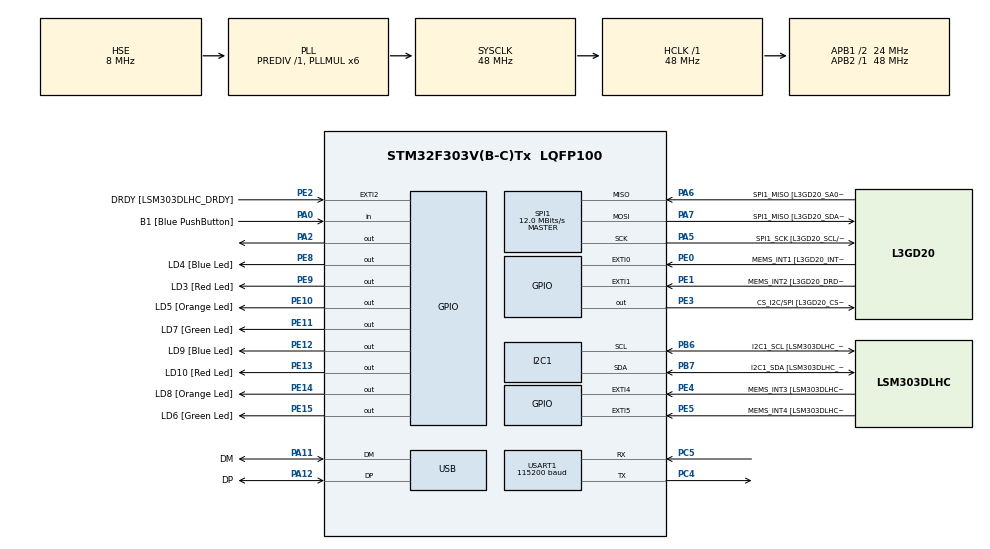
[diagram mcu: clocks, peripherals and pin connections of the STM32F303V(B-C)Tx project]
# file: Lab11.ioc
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I2C1.Timing=0x00201D2B
I2C1.Timing-I2C=0x2000090E
Mcu.Family=STM32F3
Mcu.Name=STM32F303V(B-C)Tx
Mcu.Package=LQFP100
NVIC.PriorityGroup=NVIC_PRIORITYGROUP_0
NVIC.TIM4_IRQn=true\:0\:0\:false\:false\:true\:true\:true\:true
PA0.GPIO_Label=B1 [Blue PushButton]
PA0.Signal=GPIO_Input
PA11.GPIO_Label=DM
PA11.Mode=Device
PA11.Signal=USB_DM
PA12.GPIO_Label=DP
PA12.Mode=Device
PA12.Signal=USB_DP
PA13.GPIO_Label=SWDIO
PA13.Mode=Serial_Wire
PA13.Signal=SYS_JTMS-SWDIO
PA14.GPIO_Label=SWCLK
PA14.Mode=Serial_Wire
PA14.Signal=SYS_JTCK-SWCLK
PA2.Signal=GPIO_Output
PA5.GPIO_Label=SPI1_SCK [L3GD20_SCL/SPC]
PA5.Mode=Full_Duplex_Master
PA5.Signal=SPI1_SCK
PA6.GPIO_Label=SPI1_MISO [L3GD20_SA0/SDO]
PA6.Mode=Full_Duplex_Master
PA6.Signal=SPI1_MISO
PA7.GPIO_Label=SPI1_MISO [L3GD20_SDA/SDI/SDO]
PA7.Mode=Full_Duplex_Master
PA7.Signal=SPI1_MOSI
PB3.GPIO_Label=SWO
PB3.Signal=SYS_JTDO-TRACESWO
PB6.GPIO_Label=I2C1_SCL [LSM303DLHC_SCL]
PB6.GPIO_Pu=GPIO_PULLUP
PB6.Mode=I2C
PB6.Signal=I2C1_SCL
PB7.GPIO_Label=I2C1_SDA [LSM303DLHC_SDA]
PB7.GPIO_Pu=GPIO_PULLUP
PB7.Mode=I2C
PB7.Signal=I2C1_SDA
PC14-OSC32_IN.GPIO_Label=OSC32_IN
PC14-OSC32_IN.Signal=RCC_OSC32_IN
PC15-OSC32_OUT.GPIO_Label=OSC32_OUT
PC15-OSC32_OUT.Signal=RCC_OSC32_OUT
PC4.Mode=Asynchronous
PC4.Signal=USART1_TX
PC5.Mode=Asynchronous
PC5.Signal=USART1_RX
PE0.GPIO_Label=MEMS_INT1 [L3GD20_INT1]
PE0.GPIO_ModeDefaultEXTI=GPIO_MODE_EVT_RISING
PE0.Signal=GPXTI0
PE1.GPIO_Label=MEMS_INT2 [L3GD20_DRDY/INT2]
PE1.GPIO_ModeDefaultEXTI=GPIO_MODE_EVT_RISING
PE1.Signal=GPXTI1
PE10.GPIO_Label=LD5 [Orange Led]
PE10.Signal=GPIO_Output
PE11.GPIO_Label=LD7 [Green Led]
PE11.Signal=GPIO_Output
PE12.GPIO_Label=LD9 [Blue Led]
PE12.Signal=GPIO_Output
PE13.GPIO_Label=LD10 [Red Led]
PE13.Signal=GPIO_Output
PE14.GPIO_Label=LD8 [Orange Led]
PE14.Signal=GPIO_Output
PE15.GPIO_Label=LD6 [Green Led]
PE15.Signal=GPIO_Output
PE2.GPIO_Label=DRDY [LSM303DLHC_DRDY]
PE2.GPIO_ModeDefaultEXTI=GPIO_MODE_EVT_RISING
PE2.Signal=GPXTI2
PE3.GPIO_Label=CS_I2C/SPI [L3GD20_CS_I2C/SPI]
PE3.Signal=GPIO_Output
PE4.GPIO_Label=MEMS_INT3 [LSM303DLHC_INT1]
PE4.GPIO_ModeDefaultEXTI=GPIO_MODE_EVT_RISING
PE4.Signal=GPXTI4
PE5.GPIO_Label=MEMS_INT4 [LSM303DLHC_INT2]
PE5.GPIO_ModeDefaultEXTI=GPIO_MODE_EVT_RISING
PE5.Signal=GPXTI5
PE8.GPIO_Label=LD4 [Blue Led]
PE8.Signal=GPIO_Output
PE9.GPIO_Label=LD3 [Red Led]
PE9.Signal=GPIO_Output
PF0-OSC_IN.GPIO_Label=OSC_IN
PF0-OSC_IN.Mode=HSE-External-Clock-Source
PF0-OSC_IN.Signal=RCC_OSC_IN
PF1-OSC_OUT.GPIO_Label=OSC_OUT
PF1-OSC_OUT.Signal=RCC_OSC_OUT
ProjectManager.HeapSize=0x200
ProjectManager.StackSize=0x400
ProjectManager.TargetToolchain=CMake
RCC.AHBFreq_Value=48000000
RCC.APB1CLKDivider=RCC_HCLK_DIV2
RCC.APB1Freq_Value=24000000
RCC.APB1TimFreq_Value=48000000
RCC.APB2Freq_Value=48000000
RCC.APB2TimFreq_Value=48000000
RCC.CortexFreq_Value=48000000
RCC.HCLKFreq_Value=48000000
RCC.HSE_VALUE=8000000
RCC.HSI_VALUE=8000000
RCC.LSE_VALUE=32768
RCC.PLLMUL=RCC_PLL_MUL6
RCC.SYSCLKFreq_VALUE=48000000
RCC.SYSCLKSourceVirtual=RCC_SYSCLKSOURCE_PLLCLK
RCC.USBFreq_Value=48000000
SPI1.BaudRatePrescaler=SPI_BAUDRATEPRESCALER_4
SPI1.BaudRatePrescaler-Full_Duplex_Master=SPI_BAUDRATEPRESCALER_2
SPI1.CLKPhase=SPI_PHASE_2EDGE
SPI1.CLKPolarity=SPI_POLARITY_HIGH
SPI1.CalculateBaudRate=12.0 MBits/s
SPI1.CalculateBaudRate-Full_Duplex_Master=24.0 MBits/s
SPI1.DataSize=SPI_DATASIZE_8BIT
SPI1.Direction=SPI_DIRECTION_2LINES
SPI1.Mode=SPI_MODE_MASTER
SPI1.Mode-Full_Duplex_Master=SPI_MODE_MASTER
SPI1.VirtualType=VM_MASTER
TIM4.Period=49
TIM4.Prescaler=7199
USART1.BaudRate=115200
USART1.VirtualMode-Asynchronous=VM_ASYNC
VP_TIM4_VS_ClockSourceINT.Mode=Internal
board=STM32F3DISCOVERY

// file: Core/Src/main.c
/* USER CODE BEGIN Header */
/**
  ******************************************************************************
  * @file           : main.c
  * @brief          : Main program body
  ******************************************************************************
  * @attention
  *
  * Copyright (c) 2026 STMicroelectronics.
  * All rights reserved.
  *
  * This software is licensed under terms that can be found in the LICENSE file
  * in the root directory of this software component.
  * If no LICENSE file comes with this software, it is provided AS-IS.
  *
  ******************************************************************************
  */
/* USER CODE END Header */
#include "main.h"

/* USER CODE BEGIN Includes */
#include <stdio.h>
#include <stdint.h>
#include <string.h>
#include <math.h> // For atan2f
/* USER CODE END Includes */

/* USER CODE BEGIN PTD */
typedef struct {
  int16_t raw_x; int16_t raw_y; int16_t raw_z;
  float scaled_x; float scaled_y; float scaled_z;
  float offset_x; float offset_y; float offset_z;
  int16_t gyro_raw_x; int16_t gyro_raw_y; int16_t gyro_raw_z;
  float gyro_scaled_x; float gyro_scaled_y; float gyro_scaled_z;
} LSM_Data;
/* USER CODE END PTD */

/* USER CODE BEGIN PD */
#define LSM_ADDR (0x19 << 1)
#define GYRO_CS_PORT GPIOE
#define GYRO_CS_PIN  GPIO_PIN_3
#define GYRO_CTRL_REG1 0x20
#define GYRO_OUT_X_L   0x28
/* USER CODE END PD */

I2C_HandleTypeDef hi2c1;

SPI_HandleTypeDef hspi1;

TIM_HandleTypeDef htim4;

UART_HandleTypeDef huart1;

PCD_HandleTypeDef hpcd_USB_FS;

/* USER CODE BEGIN PV */
LSM_Data acc_data;

// Control Loop Variables [cite: 206]
float dt = 0.005f; // 200Hz loop time from your TIM4 setup
volatile uint8_t display_flag = 0;

// Angle Estimation Variables [cite: 232]
float tilt_angle = 0.0f;
float acc_angle = 0.0f;

// PID Variables [cite: 183]
float Kp = 1.0f;  // Placeholder gains, you will tune these later [cite: 288]
float Ki = 0.0f;
float Kd = 0.0f;

float setpoint = 0.0f; // 0 degrees = perfectly upright [cite: 195]
float integral = 0.0f;
float previous_error = 0.0f;
float pid_output = 0.0f;
/* USER CODE END PV */

void SystemClock_Config(void);
static void MX_GPIO_Init(void);
static void MX_I2C1_Init(void);
static void MX_SPI1_Init(void);
static void MX_TIM4_Init(void);
static void MX_USART1_UART_Init(void);
static void MX_USB_PCD_Init(void);
/* USER CODE BEGIN PFP */
void LSM_Init(void);
void GYRO_Init(void);
void GYRO_Read(LSM_Data *data);
void LSM_Read(LSM_Data *data);
void LSM_Offset_Calibration(LSM_Data *data);
/* USER CODE END PFP */

/* USER CODE BEGIN 0 */
void LSM_Offset_Calibration(LSM_Data *data) {
float sum_x = 0.0f, sum_y = 0.0f, sum_z = 0.0f;
uint8_t low_byte, high_byte;
int16_t raw_x, raw_y, raw_z;

for (int i = 0; i < 20; i++) {
HAL_I2C_Mem_Read(&hi2c1, LSM_ADDR, 0x28, 1, &low_byte, 1, HAL_MAX_DELAY);
HAL_I2C_Mem_Read(&hi2c1, LSM_ADDR, 0x29, 1, &high_byte, 1, HAL_MAX_DELAY);
raw_x = (int16_t)((high_byte << 8) | low_byte);

HAL_I2C_Mem_Read(&hi2c1, LSM_ADDR, 0x2A, 1, &low_byte, 1, HAL_MAX_DELAY);
HAL_I2C_Mem_Read(&hi2c1, LSM_ADDR, 0x2B, 1, &high_byte, 1, HAL_MAX_DELAY);
raw_y = (int16_t)((high_byte << 8) | low_byte);

HAL_I2C_Mem_Read(&hi2c1, LSM_ADDR, 0x2C, 1, &low_byte, 1, HAL_MAX_DELAY);
HAL_I2C_Mem_Read(&hi2c1, LSM_ADDR, 0x2D, 1, &high_byte, 1, HAL_MAX_DELAY);
raw_z = (int16_t)((high_byte << 8) | low_byte);

sum_x += (raw_x * 3.9f / 1000.0f);
sum_y += (raw_y * 3.9f / 1000.0f);
sum_z += (raw_z * 3.9f / 1000.0f);

HAL_Delay(20);
}

data->offset_x = sum_x / 20.0f;
data->offset_y = sum_y / 20.0f;
data->offset_z = (sum_z / 20.0f) - 1.0f;
}

/* USER CODE END 0 */

int main(void)
{

  /* MCU Configuration--------------------------------------------------------*/

  /* Reset of all peripherals, Initializes the Flash interface and the Systick. */
  HAL_Init();

  /* Configure the system clock */
  SystemClock_Config();

  /* Initialize all configured peripherals */
  MX_GPIO_Init();
  MX_I2C1_Init();
  MX_SPI1_Init();
  MX_TIM4_Init();
  MX_USART1_UART_Init();
  MX_USB_PCD_Init();
  /* USER CODE BEGIN 2 */
  // ... (keep your existing init code here)
  LSM_Init();
  GYRO_Init();
  LSM_Offset_Calibration(&acc_data);

  HAL_TIM_Base_Start_IT(&htim4); // START THE TIMER INTERRUPT! [cite: 268]
  /* USER CODE END 2 */

  /* Infinite loop */
  /* USER CODE BEGIN WHILE */
  while (1)
  {
      if (display_flag == 1)
      {
          display_flag = 0;

          // Printing the raw gyro rate, accelerometer angle, filtered angle, and PID output
          printf("AX: %.2f | AY: %.2f | AZ: %.2f || GyroX: %.2f | Angle: %.2f\r\n",
                 acc_data.scaled_x,
                 acc_data.scaled_y,
                 acc_data.scaled_z,
                 acc_data.gyro_scaled_x,
                 tilt_angle);
      }
    /* USER CODE END WHILE */

  }
}

void SystemClock_Config(void)
{
  RCC_OscInitTypeDef RCC_OscInitStruct = {0};
  RCC_ClkInitTypeDef RCC_ClkInitStruct = {0};
  RCC_PeriphCLKInitTypeDef PeriphClkInit = {0};

  /** Initializes the RCC Oscillators according to the specified parameters
  * in the RCC_OscInitTypeDef structure.
  */
  RCC_OscInitStruct.OscillatorType = RCC_OSCILLATORTYPE_HSI|RCC_OSCILLATORTYPE_HSE;
  RCC_OscInitStruct.HSEState = RCC_HSE_BYPASS;
  RCC_OscInitStruct.HSEPredivValue = RCC_HSE_PREDIV_DIV1;
  RCC_OscInitStruct.HSIState = RCC_HSI_ON;
  RCC_OscInitStruct.HSICalibrationValue = RCC_HSICALIBRATION_DEFAULT;
  RCC_OscInitStruct.PLL.PLLState = RCC_PLL_ON;
  RCC_OscInitStruct.PLL.PLLSource = RCC_PLLSOURCE_HSE;
  RCC_OscInitStruct.PLL.PLLMUL = RCC_PLL_MUL6;
  if (HAL_RCC_OscConfig(&RCC_OscInitStruct) != HAL_OK)
  {
    Error_Handler();
  }

  /** Initializes the CPU, AHB and APB buses clocks
  */
  RCC_ClkInitStruct.ClockType = RCC_CLOCKTYPE_HCLK|RCC_CLOCKTYPE_SYSCLK
                              |RCC_CLOCKTYPE_PCLK1|RCC_CLOCKTYPE_PCLK2;
  RCC_ClkInitStruct.SYSCLKSource = RCC_SYSCLKSOURCE_PLLCLK;
  RCC_ClkInitStruct.AHBCLKDivider = RCC_SYSCLK_DIV1;
  RCC_ClkInitStruct.APB1CLKDivider = RCC_HCLK_DIV2;
  RCC_ClkInitStruct.APB2CLKDivider = RCC_HCLK_DIV1;

  if (HAL_RCC_ClockConfig(&RCC_ClkInitStruct, FLASH_LATENCY_1) != HAL_OK)
  {
    Error_Handler();
  }
  PeriphClkInit.PeriphClockSelection = RCC_PERIPHCLK_USB|RCC_PERIPHCLK_USART1
                              |RCC_PERIPHCLK_I2C1;
  PeriphClkInit.Usart1ClockSelection = RCC_USART1CLKSOURCE_PCLK2;
  PeriphClkInit.I2c1ClockSelection = RCC_I2C1CLKSOURCE_HSI;
  PeriphClkInit.USBClockSelection = RCC_USBCLKSOURCE_PLL;
  if (HAL_RCCEx_PeriphCLKConfig(&PeriphClkInit) != HAL_OK)
  {
    Error_Handler();
  }
}

static void MX_I2C1_Init(void)
{

  hi2c1.Instance = I2C1;
  hi2c1.Init.Timing = 0x00201D2B;
  hi2c1.Init.OwnAddress1 = 0;
  hi2c1.Init.AddressingMode = I2C_ADDRESSINGMODE_7BIT;
  hi2c1.Init.DualAddressMode = I2C_DUALADDRESS_DISABLE;
  hi2c1.Init.OwnAddress2 = 0;
  hi2c1.Init.OwnAddress2Masks = I2C_OA2_NOMASK;
  hi2c1.Init.GeneralCallMode = I2C_GENERALCALL_DISABLE;
  hi2c1.Init.NoStretchMode = I2C_NOSTRETCH_DISABLE;
  if (HAL_I2C_Init(&hi2c1) != HAL_OK)
  {
    Error_Handler();
  }

  /** Configure Analogue filter
  */
  if (HAL_I2CEx_ConfigAnalogFilter(&hi2c1, I2C_ANALOGFILTER_ENABLE) != HAL_OK)
  {
    Error_Handler();
  }

  /** Configure Digital filter
  */
  if (HAL_I2CEx_ConfigDigitalFilter(&hi2c1, 0) != HAL_OK)
  {
    Error_Handler();
  }

}

static void MX_SPI1_Init(void)
{

  /* SPI1 parameter configuration*/
  hspi1.Instance = SPI1;
  hspi1.Init.Mode = SPI_MODE_MASTER;
  hspi1.Init.Direction = SPI_DIRECTION_2LINES;
  hspi1.Init.DataSize = SPI_DATASIZE_8BIT;
  hspi1.Init.CLKPolarity = SPI_POLARITY_HIGH;
  hspi1.Init.CLKPhase = SPI_PHASE_2EDGE;
  hspi1.Init.NSS = SPI_NSS_SOFT;
  hspi1.Init.BaudRatePrescaler = SPI_BAUDRATEPRESCALER_4;
  hspi1.Init.FirstBit = SPI_FIRSTBIT_MSB;
  hspi1.Init.TIMode = SPI_TIMODE_DISABLE;
  hspi1.Init.CRCCalculation = SPI_CRCCALCULATION_DISABLE;
  hspi1.Init.CRCPolynomial = 7;
  hspi1.Init.CRCLength = SPI_CRC_LENGTH_DATASIZE;
  hspi1.Init.NSSPMode = SPI_NSS_PULSE_DISABLE;
  if (HAL_SPI_Init(&hspi1) != HAL_OK)
  {
    Error_Handler();
  }

}

static void MX_TIM4_Init(void)
{

  TIM_ClockConfigTypeDef sClockSourceConfig = {0};
  TIM_MasterConfigTypeDef sMasterConfig = {0};

  htim4.Instance = TIM4;
  htim4.Init.Prescaler = 7199;
  htim4.Init.CounterMode = TIM_COUNTERMODE_UP;
  htim4.Init.Period = 49;
  htim4.Init.ClockDivision = TIM_CLOCKDIVISION_DIV1;
  htim4.Init.AutoReloadPreload = TIM_AUTORELOAD_PRELOAD_DISABLE;
  if (HAL_TIM_Base_Init(&htim4) != HAL_OK)
  {
    Error_Handler();
  }
  sClockSourceConfig.ClockSource = TIM_CLOCKSOURCE_INTERNAL;
  if (HAL_TIM_ConfigClockSource(&htim4, &sClockSourceConfig) != HAL_OK)
  {
    Error_Handler();
  }
  sMasterConfig.MasterOutputTrigger = TIM_TRGO_RESET;
  sMasterConfig.MasterSlaveMode = TIM_MASTERSLAVEMODE_DISABLE;
  if (HAL_TIMEx_MasterConfigSynchronization(&htim4, &sMasterConfig) != HAL_OK)
  {
    Error_Handler();
  }

}

static void MX_USART1_UART_Init(void)
{

  huart1.Instance = USART1;
  huart1.Init.BaudRate = 115200;
  huart1.Init.WordLength = UART_WORDLENGTH_8B;
  huart1.Init.StopBits = UART_STOPBITS_1;
  huart1.Init.Parity = UART_PARITY_NONE;
  huart1.Init.Mode = UART_MODE_TX_RX;
  huart1.Init.HwFlowCtl = UART_HWCONTROL_NONE;
  huart1.Init.OverSampling = UART_OVERSAMPLING_16;
  huart1.Init.OneBitSampling = UART_ONE_BIT_SAMPLE_DISABLE;
  huart1.AdvancedInit.AdvFeatureInit = UART_ADVFEATURE_NO_INIT;
  if (HAL_UART_Init(&huart1) != HAL_OK)
  {
    Error_Handler();
  }

}

static void MX_USB_PCD_Init(void)
{

  hpcd_USB_FS.Instance = USB;
  hpcd_USB_FS.Init.dev_endpoints = 8;
  hpcd_USB_FS.Init.speed = PCD_SPEED_FULL;
  hpcd_USB_FS.Init.phy_itface = PCD_PHY_EMBEDDED;
  hpcd_USB_FS.Init.low_power_enable = DISABLE;
  hpcd_USB_FS.Init.battery_charging_enable = DISABLE;
  if (HAL_PCD_Init(&hpcd_USB_FS) != HAL_OK)
  {
    Error_Handler();
  }

}

static void MX_GPIO_Init(void)
{
  GPIO_InitTypeDef GPIO_InitStruct = {0};

  /* GPIO Ports Clock Enable */
  __HAL_RCC_GPIOE_CLK_ENABLE();
  __HAL_RCC_GPIOC_CLK_ENABLE();
  __HAL_RCC_GPIOF_CLK_ENABLE();
  __HAL_RCC_GPIOA_CLK_ENABLE();
  __HAL_RCC_GPIOB_CLK_ENABLE();

  /*Configure GPIO pin Output Level */
  HAL_GPIO_WritePin(GPIOE, CS_I2C_SPI_Pin|LD4_Pin|LD3_Pin|LD5_Pin
                          |LD7_Pin|LD9_Pin|LD10_Pin|LD8_Pin
                          |LD6_Pin, GPIO_PIN_RESET);

  /*Configure GPIO pins : DRDY_Pin MEMS_INT3_Pin MEMS_INT4_Pin MEMS_INT1_Pin
                           MEMS_INT2_Pin */
  GPIO_InitStruct.Pin = DRDY_Pin|MEMS_INT3_Pin|MEMS_INT4_Pin|MEMS_INT1_Pin
                          |MEMS_INT2_Pin;
  GPIO_InitStruct.Mode = GPIO_MODE_EVT_RISING;
  GPIO_InitStruct.Pull = GPIO_NOPULL;
  HAL_GPIO_Init(GPIOE, &GPIO_InitStruct);

  /*Configure GPIO pins : CS_I2C_SPI_Pin LD4_Pin LD3_Pin LD5_Pin
                           LD7_Pin LD9_Pin LD10_Pin LD8_Pin
                           LD6_Pin */
  GPIO_InitStruct.Pin = CS_I2C_SPI_Pin|LD4_Pin|LD3_Pin|LD5_Pin
                          |LD7_Pin|LD9_Pin|LD10_Pin|LD8_Pin
                          |LD6_Pin;
  GPIO_InitStruct.Mode = GPIO_MODE_OUTPUT_PP;
  GPIO_InitStruct.Pull = GPIO_NOPULL;
  GPIO_InitStruct.Speed = GPIO_SPEED_FREQ_LOW;
  HAL_GPIO_Init(GPIOE, &GPIO_InitStruct);

  /*Configure GPIO pin : B1_Pin */
  GPIO_InitStruct.Pin = B1_Pin;
  GPIO_InitStruct.Mode = GPIO_MODE_INPUT;
  GPIO_InitStruct.Pull = GPIO_NOPULL;
  HAL_GPIO_Init(B1_GPIO_Port, &GPIO_InitStruct);

}

/* USER CODE BEGIN 4 */
void LSM_Init(void)
{
    uint8_t data;

    // CTRL_REG1_A → 100Hz, enable X Y Z
    data = 0x57;
    HAL_I2C_Mem_Write(&hi2c1,
                      LSM_ADDR,
                      0x20,
                      I2C_MEMADD_SIZE_8BIT,
                      &data,
                      1,
                      HAL_MAX_DELAY);

    // CTRL_REG4_A → ±2g
    data = 0x00;
    HAL_I2C_Mem_Write(&hi2c1,
                      LSM_ADDR,
                      0x23,
                      I2C_MEMADD_SIZE_8BIT,
                      &data,
                      1,
                      HAL_MAX_DELAY);
}

void GYRO_Init(void)
{
    uint8_t data[2];

    data[0] = GYRO_CTRL_REG1;
    data[1] = 0x0F;   // Power on, enable X Y Z, 95Hz

    HAL_GPIO_WritePin(GYRO_CS_PORT, GYRO_CS_PIN, GPIO_PIN_RESET);
    HAL_SPI_Transmit(&hspi1, data, 2, HAL_MAX_DELAY);
    HAL_GPIO_WritePin(GYRO_CS_PORT, GYRO_CS_PIN, GPIO_PIN_SET);
}

void LSM_Read(LSM_Data *data)
{
    uint8_t rawData[6];

    HAL_I2C_Mem_Read(&hi2c1,
                     LSM_ADDR,
                     0x28 | 0x80,
                     I2C_MEMADD_SIZE_8BIT,
                     rawData,
                     6,
                     HAL_MAX_DELAY);

    data->raw_x = (int16_t)((rawData[1] << 8) | rawData[0]);
    data->raw_y = (int16_t)((rawData[3] << 8) | rawData[2]);
    data->raw_z = (int16_t)((rawData[5] << 8) | rawData[4]);

    data->scaled_x = (data->raw_x * 3.9f / 1000.0f) - data->offset_x;
    data->scaled_y = (data->raw_y * 3.9f / 1000.0f) - data->offset_y;
    data->scaled_z = (data->raw_z * 3.9f / 1000.0f) - data->offset_z;
}

void GYRO_Read(LSM_Data *data)
{
    uint8_t tx_buf[7] = {0};
    uint8_t rx_buf[7] = {0};

    tx_buf[0] = 0xC0 | GYRO_OUT_X_L;
    // 0x80 = Read
    // 0x40 = Auto increment

    HAL_GPIO_WritePin(GYRO_CS_PORT, GYRO_CS_PIN, GPIO_PIN_RESET);
    HAL_SPI_TransmitReceive(&hspi1, tx_buf, rx_buf, 7, HAL_MAX_DELAY);
    HAL_GPIO_WritePin(GYRO_CS_PORT, GYRO_CS_PIN, GPIO_PIN_SET);

    data->gyro_raw_x = (int16_t)((rx_buf[2] << 8) | rx_buf[1]);
    data->gyro_raw_y = (int16_t)((rx_buf[4] << 8) | rx_buf[3]);
    data->gyro_raw_z = (int16_t)((rx_buf[6] << 8) | rx_buf[5]);

    // L3GD20 ±250 dps sensitivity
    data->gyro_scaled_x = data->gyro_raw_x * 0.00875f;
    data->gyro_scaled_y = data->gyro_raw_y * 0.00875f;
    data->gyro_scaled_z = data->gyro_raw_z * 0.00875f;
}

int _write(int file, char *ptr, int len)
{
    HAL_UART_Transmit(&huart1, (uint8_t*)ptr, len, HAL_MAX_DELAY);
    return len;
}

void HAL_TIM_PeriodElapsedCallback(TIM_HandleTypeDef *htim)
{
    if (htim->Instance == TIM4) // Using your TIM4 setup
    {
        static int counter = 0;

        // 1. Read Sensors [cite: 234]
        LSM_Read(&acc_data);
        GYRO_Read(&acc_data);

        // 2. Angle Estimation (Complementary Filter) [cite: 7, 8]
        // Note: You may need to swap Y/Z or X/Z based on exactly how your board is mounted.
        acc_angle = atan2f(acc_data.scaled_y, acc_data.scaled_z) * (180.0f / 3.14159f);

        // Filter: 98% Gyro, 2% Accelerometer [cite: 19]
        tilt_angle = 0.98f * (tilt_angle + (acc_data.gyro_scaled_x * dt)) + 0.02f * acc_angle;

        // 3. PID Controller [cite: 161, 182]
        // Note: Pure proportional (P only) is not allowed by the lab manual[cite: 162].
        float error = setpoint - tilt_angle;

        // Proportional
        float P = Kp * error;

        // Integral
        integral += error * dt;
        float I = Ki * integral;

        // Derivative
        float derivative = (error - previous_error) / dt;
        float D = Kd * derivative;

        pid_output = P + I + D;
        previous_error = error;

        // 4. Update display flag (Print at 10Hz to avoid flooding UART) [cite: 245, 246]
        counter++;
        if (counter >= 100)
        {
            display_flag = 1;
            counter = 0;
        }
    }
}
/* USER CODE END 4 */

void Error_Handler(void)
{
  __disable_irq();
  while (1)
  {
  }
}
